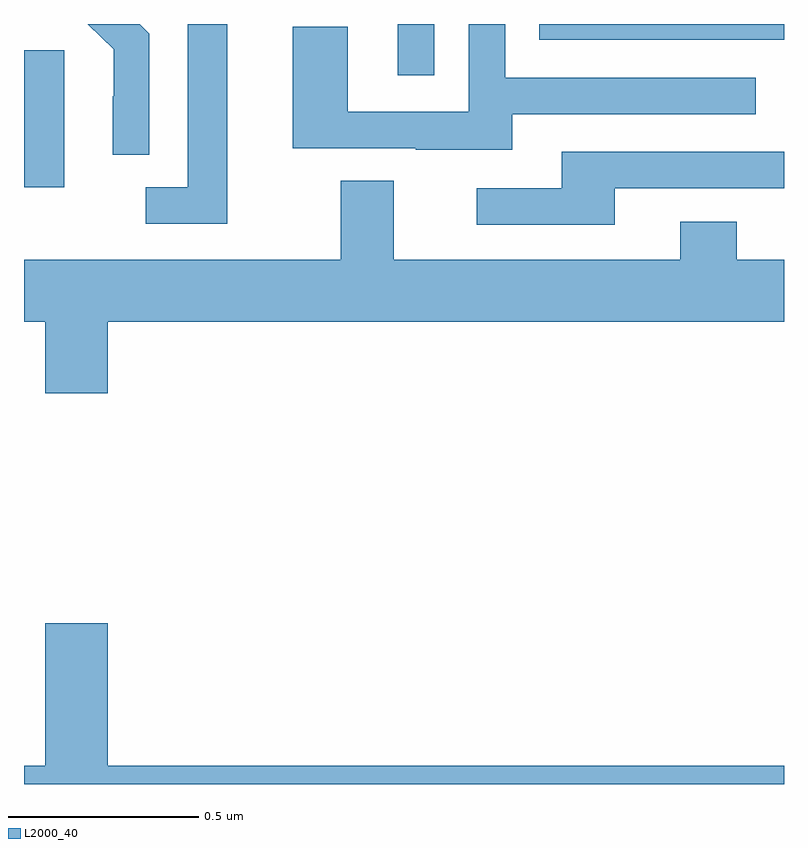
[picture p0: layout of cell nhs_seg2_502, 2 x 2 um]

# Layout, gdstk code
import gdstk
lib = gdstk.Library(unit=1e-6, precision=1e-09)
def R(c, l, rs):  # rectangles x0, y0, x1, y1
    for r in rs: c.add(gdstk.rectangle(r[:2], r[2:], *l))
def P(c, l, *ps):  # polygons
    for p in ps: c.add(gdstk.Polygon(p, *l))
L2000_40 = (2000, 40)

nhs_seg2_502 = lib.new_cell('nhs_seg2_502')
R(nhs_seg2_502, L2000_40, [(117,601.37,117.106,601.731), (117.983,601.665,118.08,601.8), (118.356,601.758,119,601.8)])
P(nhs_seg2_502, L2000_40, [(117.535,601.8),(117.431,601.8),(117.431,601.371),(117.321,601.371),(117.321,601.275),(117.535,601.275)],
  [(118.285,601.563),(118.925,601.563),(118.925,601.659),(118.266,601.659),(118.266,601.8),(118.17,601.8),(118.17,601.569),(117.852,601.569),(117.852,601.793),(117.707,601.793),(117.707,601.473),(118.031,601.473),(118.031,601.469),(118.285,601.469)],
  [(117.33,601.774),(117.304,601.8),(117.168,601.8),(117.236,601.733),(117.236,601.61),(117.234,601.61),(117.234,601.456),(117.33,601.456)],
  [(118.555,601.368),(119,601.368),(119,601.464),(118.415,601.464),(118.415,601.368),(118.191,601.368),(118.191,601.272),(118.555,601.272)],
  [(117.22,601.016),(119,601.016),(119,601.18),(118.875,601.18),(118.875,601.279),(118.727,601.279),(118.727,601.18),(117.973,601.18),(117.973,601.388),(117.833,601.388),(117.833,601.18),(117,601.18),(117,601.016),(117.056,601.016),(117.056,600.828),(117.22,600.828)],
  [(119,599.848),(117.22,599.848),(117.22,600.223),(117.056,600.223),(117.056,599.848),(117,599.848),(117,599.8),(119,599.8)])

lib.write_gds('nhs_seg2_502.gds')
